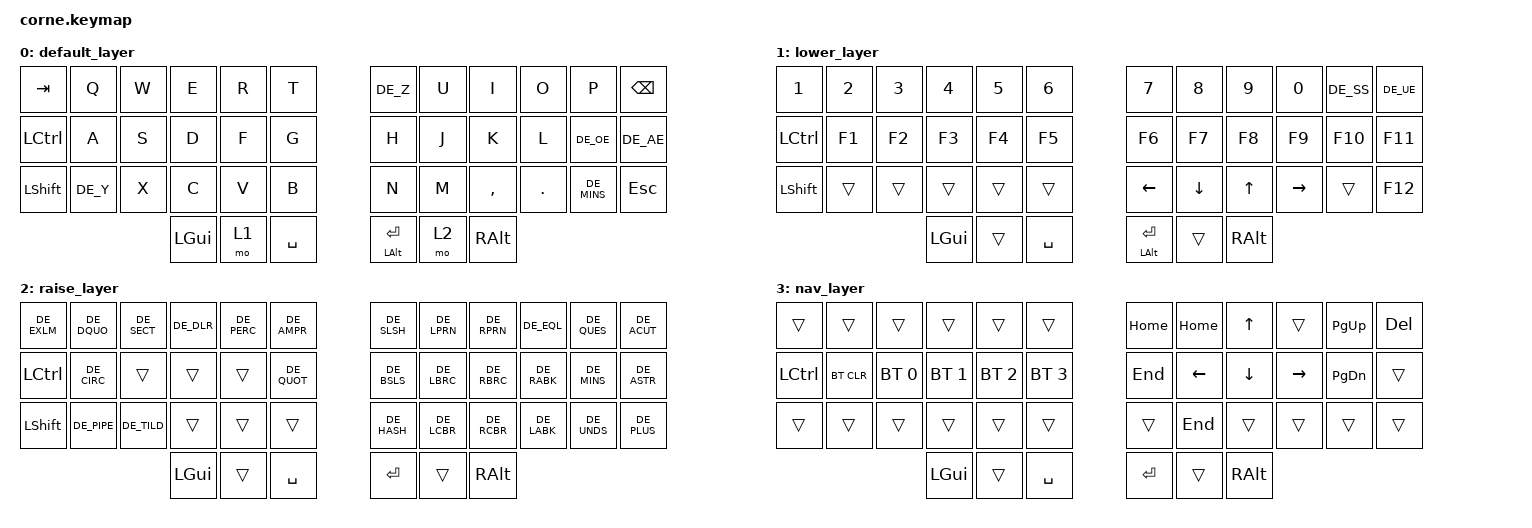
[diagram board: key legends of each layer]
/*
 * Copyright (c) 2020 The ZMK Contributors
 *
 * SPDX-License-Identifier: MIT
 */

#include <behaviors.dtsi>
#include <dt-bindings/zmk/keys.h>
#include <dt-bindings/zmk/bt.h>

#include "keys_de.h"

/ {
        conditional_layers {
                compatible = "zmk,conditional-layers";

                tri_layer {
                        if-layers = <1 2>;
                        then-layer = <3>;
                };
        };

        keymap {
                compatible = "zmk,keymap";

                default_layer {
// -----------------------------------------------------------------------------------------
// |  TAB |  Q  |  W  |  E  |  R  |  T  |   |  Z  |  U   |  I  |  O  |  P  | BKSP |
// | CTRL |  A  |  S  |  D  |  F  |  G  |   |  H  |  J   |  K  |  L  |  Ö  |  Ä   |
// | SHFT |  Y  |  X  |  C  |  V  |  B  |   |  N  |  M   |  ,  |  .  |  -  | ESC  |
//                    | GUI | LWR | SPC |   | ENT | RSE  | ALT |
                        bindings = <
   &kp TAB   &kp Q &kp W &kp E &kp R &kp T   &kp DE_Z &kp U  &kp I     &kp O   &kp P    &kp BSPC
   &kp LCTRL &kp A &kp S &kp D &kp F &kp G   &kp H &kp J  &kp K     &kp L   &kp DE_OE &kp DE_AE
   &kp LSHFT &kp DE_Y &kp X &kp C &kp V &kp B   &kp N &kp M  &kp COMMA &kp DOT &kp DE_MINS &kp ESC
                  &kp LGUI &mo 1 &kp SPACE   &mt LALT RET &mo 2 &kp RALT
                        >;
                };
                lower_layer {
// -----------------------------------------------------------------------------------------
// |  1   |  2   |  3  |  4  |  5  | 6   |   |  7  |  8  |  9  |  0  | ß   |  Ü  |
// | CTRL | F1   | F2  | F3  | F4  | F5  |   | F6  | F7  | F8  |  F9 | F10 | F11 |
// | SHFT |      |     |     |     |     |   |     |     |     |     |     | F12 |
//                    | GUI |     | SPC |   | ENT |     | ALT |
                        bindings = <
   &kp N1      &kp N2      &kp N3       &kp N4       &kp N5       &kp N6       &kp N7     &kp N8   &kp N9   &kp N0    &kp DE_SS &kp DE_UE
   &kp LCTRL   &kp F1      &kp F2       &kp F3       &kp F4       &kp F5       &kp F6     &kp F7   &kp F8   &kp F9    &kp F10   &kp F11   
   &kp LSHFT   &trans      &trans       &trans       &trans       &trans       &kp LEFT   &kp DOWN &kp UP   &kp RIGHT &trans    &kp F12
                  &kp LGUI     &trans       &kp SPACE      &mt LALT RET  &trans   &kp RALT
                        >;
                };

                raise_layer {
// -----------------------------------------------------------------------------------------
// |  !   |  "  |  §  |  $  |  %  |  &  |   |  /  |  (  |  )  |  =  |  ?   | ´  |
// | CTRL |  ^  |     |     |     |  '  |   |  \  |  [  |  ]  |  <  |  -   | *  |
// | SHFT | "|" |  ~  |     |     |     |   |  #  |  {  |  }  |  >  |  _   | +  |
//                    | GUI |     | SPC |   | ENT |     | ALT |
                        bindings = <
   &kp DE_EXLM   &kp DE_DQUO  &kp DE_SECT  &kp DE_DLR   &kp DE_PERC  &kp DE_AMPR       &kp DE_SLSH &kp DE_LPRN     &kp DE_RPRN  &kp DE_EQL  &kp DE_QUES &kp DE_ACUT
   &kp LCTRL     &kp DE_CIRC  &trans       &trans       &trans       &kp DE_QUOT       &kp DE_BSLS &kp DE_LBRC     &kp DE_RBRC  &kp DE_RABK &kp DE_MINS &kp DE_ASTR
   &kp LSHFT     &kp DE_PIPE  &kp DE_TILD  &trans       &trans       &trans            &kp DE_HASH &kp DE_LCBR     &kp DE_RCBR  &kp DE_LABK &kp DE_UNDS &kp DE_PLUS
                             &kp LGUI &trans   &kp SPACE   &kp RET   &trans    &kp RALT
                        >;
                };

                nav_layer {
// -----------------------------------------------------------------------------------------
// |      |     |     |     |     |     |   | POS | POS |  UP |     | PGUP| DEL |
// | CTRL |BTCLR| BT1 | BT2 | BT3 | BT4 |   | END | LEFT| DOWN|RIGHT|PGDWN|     |
// | SHFT |     |     |     |     |     |   |     | END |     |     |     |     |
//                    | GUI |     | SPC |   | ENT |     | ALT |
                        bindings = <
   &trans       &trans       &trans       &trans       &trans       &trans           &kp HOME  &kp HOME    &kp UP    &trans     &kp PAGE_UP    &kp DEL
   &kp LCTRL    &bt BT_CLR   &bt BT_SEL 0 &bt BT_SEL 1 &bt BT_SEL 2 &bt BT_SEL 3     &kp END   &kp LEFT    &kp DOWN  &kp RIGHT  &kp PAGE_DOWN  &trans
   &trans       &trans       &trans       &trans       &trans       &trans           &trans    &kp END     &trans    &trans     &trans         &trans
                                    &kp LGUI   &trans   &kp SPACE      &kp RET  &trans   &kp RALT
                        >;
                };

        };
};
